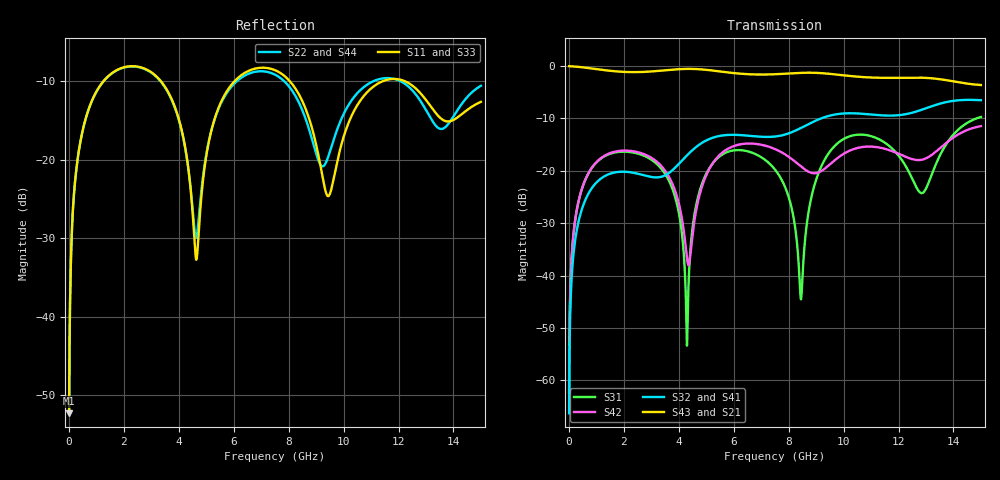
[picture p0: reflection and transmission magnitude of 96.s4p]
! Created with skrf 1.8.0 (http://scikit-rf.org).
# GHz S RI R 50.0
!freq ReS11 ImS11 ReS12 ImS12 ReS13 ImS13
! ReS14 ImS14
! ReS21 ImS21 ReS22 ImS22 ReS23 ImS23
! ReS24 ImS24
! ReS31 ImS31 ReS32 ImS32 ReS33 ImS33
! ReS34 ImS34
! ReS41 ImS41 ReS42 ImS42 ReS43 ImS43
! ReS44 ImS44
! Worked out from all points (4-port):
!   2499 points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, 5 MHz to 15 GHz, reference 50 ohm
!   strongest paths, dB at 5 MHz, 3.476 GHz, 7.19 GHz, 11.1 GHz, 15 GHz:
!     S43: 0.0, -0.8, -1.6, -2.2, -3.6
!     S21: 0.0, -0.8, -1.6, -2.2, -3.6
!     S32: -66.3, -20.9, -13.5, -9.3, -6.5
!     S41: -66.3, -20.9, -13.6, -9.3, -6.6
!     S42: -62.4, -19.8, -15.3, -15.4, -11.5
!     S31: -62.4, -20.4, -18.1, -13.5, -9.7
!   lowest |S11| = -52.3 dB at 5 MHz (marker M1), VSWR 1.00, Z = 50.2 + j0.148 ohm
!   |S11| at or under -10 dB: 3.349 GHz to 6.027 GHz (2.678 GHz wide, 57.1 % of centre); 8.044 GHz to 11.42 GHz (3.375 GHz wide, 34.7 % of centre); 12.24 GHz to end of sweep (the widest 3 of 4)
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0.005  0.00193 0.00147  0.998 -0.00376  9.76e-05 0.000756  -9.49e-05 -0.000476
       0.998 -0.00376  0.00193 0.00147  -9.49e-05 -0.000476  9.78e-05 0.000756
       9.76e-05 0.000756  -9.49e-05 -0.000476  0.00193 0.00147  0.998 -0.00376
       -9.49e-05 -0.000476  9.78e-05 0.000756  0.998 -0.00376  0.00193 0.00147
1.3193  0.2734 0.1775  0.546 -0.7308  0.1237 0.0634  -0.0894 -0.00585
        0.546 -0.7308  0.2716 0.1788  -0.0895 -0.00577  0.129 0.0562
        0.1237 0.0634  -0.0895 -0.00577  0.2734 0.1775  0.546 -0.7308
        -0.0894 -0.00585  0.129 0.0562  0.546 -0.7308  0.2716 0.1787
4.29554  0.0436 -0.0926  -0.8944 -0.2894  0.00214 0.000109  -0.0394 0.1348
         -0.8944 -0.2894  0.0518 -0.0872  -0.0383 0.1351  -0.0127 -0.00769
         0.00214 0.000109  -0.0383 0.1351  0.0436 -0.0928  -0.8944 -0.2897
         -0.0394 0.1348  -0.0127 -0.00769  -0.8944 -0.2897  0.0519 -0.0874
5.320967  0.113 0.148  -0.823 0.3651  0.086 0.0914  0.1093 0.1797
          -0.823 0.3651  0.117 0.143  0.1108 0.179  0.0966 0.082
          0.086 0.0914  0.1108 0.179  0.1119 0.1472  -0.8234 0.3647
          0.1093 0.1797  0.0966 0.082  -0.8234 0.3647  0.1171 0.1422
8.44727  0.1736 -0.1751  0.6308 0.585  0.00558 0.002  0.1705 -0.1913
         0.6308 0.585  0.1742 -0.1295  0.1674 -0.1946  -0.0731 -0.0825
         0.00558 0.002  0.1674 -0.1946  0.1708 -0.1703  0.6325 0.585
         0.1705 -0.1913  -0.0731 -0.0825  0.6325 0.585  0.169 -0.1271
9.341392  0.0571 -0.0276  0.8443 0.1007  0.0501 0.122  0.0347 -0.3255
          0.8443 0.1007  0.0933 0.017  0.0292 -0.3263  -0.0549 0.091
          0.0501 0.122  0.0292 -0.3263  0.0572 -0.0213  0.8446 0.0989
          0.0347 -0.3255  -0.0549 0.091  0.8446 0.0989  0.0909 0.0242
15  0.2338 -0.00505  -0.6054 0.2611  0.2654 0.1905  0.2558 0.3946
    -0.6054 0.2611  0.2935 0.0382  0.2656 0.3906  0.1623 0.2122
    0.2654 0.1905  0.2656 0.3906  0.2276 -0.00799  -0.6066 0.259
    0.2558 0.3946  0.1623 0.2122  -0.6066 0.259  0.2967 0.04
